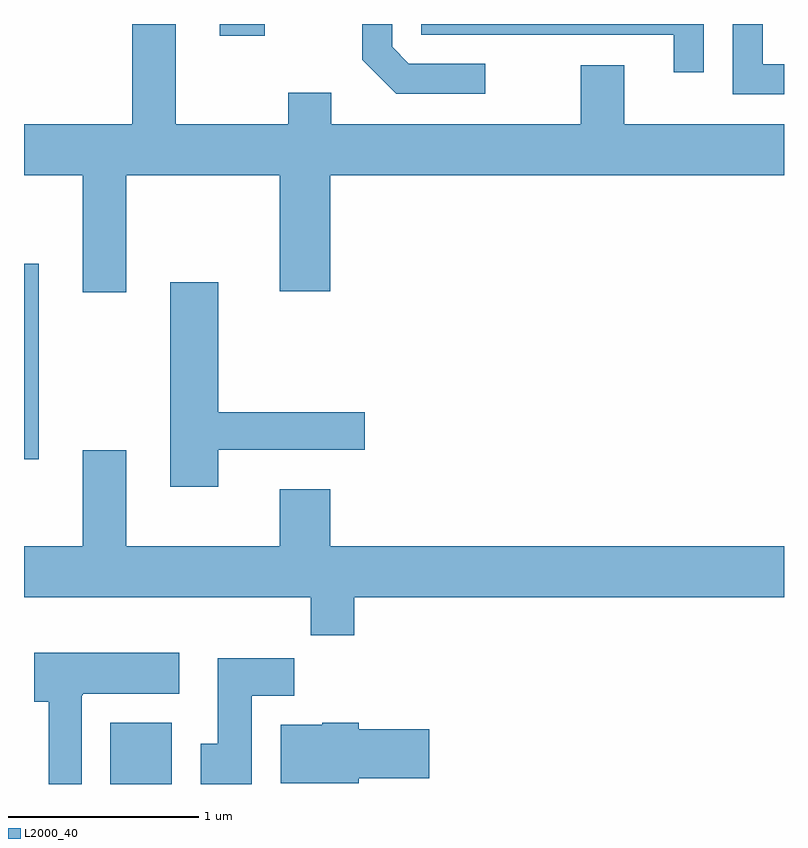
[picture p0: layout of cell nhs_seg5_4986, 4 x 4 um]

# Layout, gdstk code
import gdstk
lib = gdstk.Library(unit=1e-6, precision=1e-09)
def R(c, l, rs):  # rectangles x0, y0, x1, y1
    for r in rs: c.add(gdstk.rectangle(r[:2], r[2:], *l))
def P(c, l, *ps):  # polygons
    for p in ps: c.add(gdstk.Polygon(p, *l))
L2000_40 = (2000, 40)

nhs_seg5_4986 = lib.new_cell('nhs_seg5_4986')
R(nhs_seg5_4986, L2000_40, [(334.066,1418.072,334.389,1418.394), (333.611,1419.781,333.689,1420.809), (334.641,1422.011,334.878,1422.072), (333.611,1422.071,333.949,1422.072)])
P(nhs_seg5_4986, L2000_40, [(336.038,1421.864),(335.637,1421.864),(335.549,1421.952),(335.549,1422.072),(335.391,1422.072),(335.391,1421.884),(335.569,1421.706),(336.038,1421.706)],
  [(337.189,1422.072),(335.701,1422.072),(335.701,1422.016),(337.031,1422.016),(337.031,1421.818),(337.189,1421.818)],
  [(334.149,1421.276),(334.956,1421.276),(334.956,1420.666),(335.224,1420.666),(335.224,1421.276),(337.611,1421.276),(337.611,1421.544),(336.769,1421.544),(336.769,1421.854),(336.541,1421.854),(336.541,1421.544),(335.229,1421.544),(335.229,1421.709),(335.001,1421.709),(335.001,1421.544),(334.409,1421.544),(334.409,1422.072),(334.181,1422.072),(334.181,1421.544),(333.611,1421.544),(333.611,1421.276),(333.921,1421.276),(333.921,1420.661),(334.149,1420.661)],
  [(337.611,1421.859),(337.499,1421.859),(337.499,1422.072),(337.341,1422.072),(337.341,1421.701),(337.611,1421.701)],
  [(334.634,1419.831),(335.404,1419.831),(335.404,1420.029),(334.634,1420.029),(334.634,1420.714),(334.381,1420.714),(334.381,1419.636),(334.634,1419.636)],
  [(335.349,1419.056),(337.611,1419.056),(337.611,1419.324),(335.224,1419.324),(335.224,1419.624),(334.956,1419.624),(334.956,1419.324),(334.149,1419.324),(334.149,1419.829),(333.921,1419.829),(333.921,1419.324),(333.611,1419.324),(333.611,1419.056),(335.121,1419.056),(335.121,1418.856),(335.349,1418.856)],
  [(333.914,1418.54),(333.92,1418.54),(333.92,1418.546),(334.429,1418.546),(334.429,1418.764),(333.666,1418.764),(333.666,1418.506),(333.741,1418.506),(333.741,1418.072),(333.914,1418.072)],
  [(334.809,1418.536),(335.034,1418.536),(335.034,1418.734),(334.631,1418.734),(334.631,1418.284),(334.541,1418.284),(334.541,1418.072),(334.809,1418.072)],
  [(335.374,1418.101),(335.744,1418.101),(335.744,1418.359),(335.374,1418.359),(335.374,1418.394),(335.18,1418.394),(335.18,1418.384),(334.961,1418.384),(334.961,1418.076),(335.374,1418.076)])

lib.write_gds('nhs_seg5_4986.gds')
